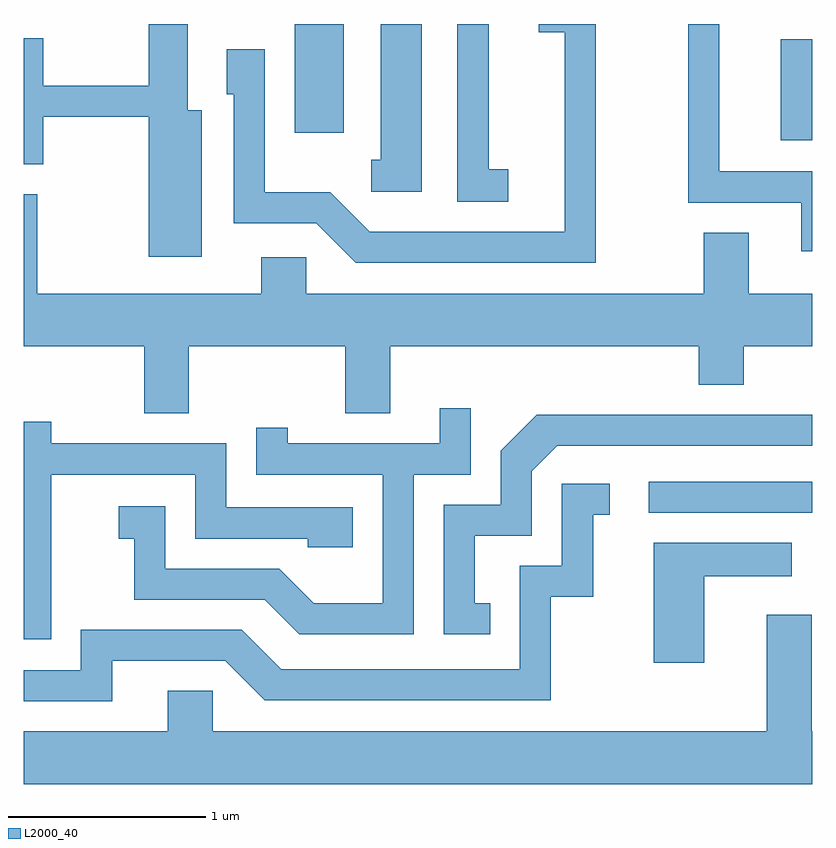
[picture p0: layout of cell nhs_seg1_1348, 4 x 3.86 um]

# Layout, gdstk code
import gdstk
lib = gdstk.Library(unit=1e-6, precision=1e-09)
def R(c, l, rs):  # rectangles x0, y0, x1, y1
    for r in rs: c.add(gdstk.rectangle(r[:2], r[2:], *l))
def P(c, l, *ps):  # polygons
    for p in ps: c.add(gdstk.Polygon(p, *l))
L2000_40 = (2000, 40)

nhs_seg1_1348 = lib.new_cell('nhs_seg1_1348')
R(nhs_seg1_1348, L2000_40, [(230.783,843.231,231.611,843.389), (231.451,845.121,231.611,845.634), (228.986,845.161,229.234,845.712)])
P(nhs_seg1_1348, L2000_40, [(228.514,845.274),(228.444,845.274),(228.444,845.712),(228.246,845.712),(228.246,845.399),(227.709,845.399),(227.709,845.639),(227.611,845.639),(227.611,845.001),(227.709,845.001),(227.709,845.241),(228.246,845.241),(228.246,844.531),(228.514,844.531)],
  [(230.514,845.712),(230.223,845.712),(230.223,845.671),(230.356,845.671),(230.356,844.659),(229.367,844.659),(229.167,844.859),(228.834,844.859),(228.834,845.584),(228.641,845.584),(228.641,845.356),(228.676,845.356),(228.676,844.701),(229.094,844.701),(229.294,844.501),(230.514,844.501)],
  [(229.629,845.712),(229.421,845.712),(229.421,845.024),(229.373,845.024),(229.373,844.861),(229.629,844.861)],
  [(230.068,844.974),(229.969,844.974),(229.969,845.712),(229.811,845.712),(229.811,844.811),(230.068,844.811)],
  [(231.611,844.964),(231.139,844.964),(231.139,845.712),(230.981,845.712),(230.981,844.806),(231.556,844.806),(231.556,844.558),(231.611,844.558)],
  [(228.449,844.076),(229.241,844.076),(229.241,843.736),(229.469,843.736),(229.469,844.076),(231.036,844.076),(231.036,843.881),(231.264,843.881),(231.264,844.076),(231.611,844.076),(231.611,844.344),(231.289,844.344),(231.289,844.654),(231.061,844.654),(231.061,844.344),(229.044,844.344),(229.044,844.529),(228.816,844.529),(228.816,844.344),(227.679,844.344),(227.679,844.849),(227.611,844.849),(227.611,844.076),(228.221,844.076),(228.221,843.736),(228.449,843.736)],
  [(229.589,843.426),(229.879,843.426),(229.879,843.763),(229.721,843.763),(229.721,843.584),(228.949,843.584),(228.949,843.663),(228.791,843.663),(228.791,843.426),(229.431,843.426),(229.431,842.774),(229.082,842.774),(228.907,842.949),(228.329,842.949),(228.329,843.264),(228.093,843.264),(228.093,843.101),(228.171,843.101),(228.171,842.791),(228.834,842.791),(229.009,842.616),(229.589,842.616)],
  [(229.978,842.774),(229.899,842.774),(229.899,843.116),(230.189,843.116),(230.189,843.444),(230.317,843.571),(231.611,843.571),(231.611,843.729),(230.214,843.729),(230.031,843.547),(230.031,843.274),(229.741,843.274),(229.741,842.616),(229.978,842.616)],
  [(227.749,843.426),(228.481,843.426),(228.481,843.101),(229.051,843.101),(229.051,843.056),(229.279,843.056),(229.279,843.259),(228.639,843.259),(228.639,843.584),(227.749,843.584),(227.749,843.694),(227.611,843.694),(227.611,842.591),(227.749,842.591)],
  [(228.059,842.481),(228.634,842.481),(228.834,842.281),(230.284,842.281),(230.284,842.806),(230.499,842.806),(230.499,843.221),(230.583,843.221),(230.583,843.379),(230.341,843.379),(230.341,842.964),(230.126,842.964),(230.126,842.439),(228.917,842.439),(228.717,842.639),(227.901,842.639),(227.901,842.434),(227.611,842.434),(227.611,842.276),(228.059,842.276)],
  [(231.064,842.911),(231.508,842.911),(231.508,843.079),(230.806,843.079),(230.806,842.471),(231.064,842.471)],
  [(231.611,842.124),(231.609,842.124),(231.609,842.714),(231.381,842.714),(231.381,842.124),(228.569,842.124),(228.569,842.329),(228.341,842.329),(228.341,842.124),(227.611,842.124),(227.611,841.856),(231.611,841.856)])

lib.write_gds('nhs_seg1_1348.gds')
